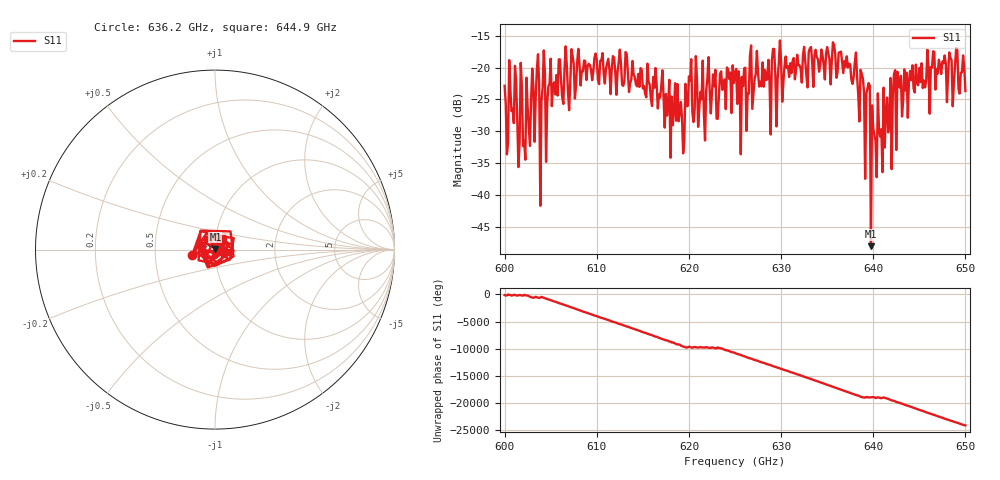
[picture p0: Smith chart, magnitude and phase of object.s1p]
!Created with skrf (http://scikit-rf.org).
# GHz S MA R 50.0
!freq magS11 angS11
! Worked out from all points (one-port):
!   401 points, 600 GHz to 650 GHz, reference 50 ohm
!   lowest |S11| = -48.0 dB at 639.8 GHz (marker M1), VSWR 1.01, Z = 50.3 + j0.303 ohm
!   |S11| at or under -10 dB: start of sweep to end of sweep
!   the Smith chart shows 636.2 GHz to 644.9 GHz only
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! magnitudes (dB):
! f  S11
! 600 GHz  -22.9
! 601 GHz  -28.7
! 602.2 GHz  -34.5
! 603.4 GHz  -24.7
! 603.9 GHz  -41.7
! 606.2 GHz  -24.6
! 612.5 GHz  -17.2
! 618.8 GHz  -22.6
! 619.2 GHz  -28.0
! 620 GHz  -21.4
! 621.5 GHz  -18.9
! 625 GHz  -20.9
! 625.5 GHz  -22.1
! 627.4 GHz  -17.4
! 628.6 GHz  -18.8
! 631.2 GHz  -19.0
! 637.5 GHz  -19.5
! 638.8 GHz  -20.9
! 639.8 GHz  -48.0
! 640 GHz  -29.5
! 641.6 GHz  -30.2
! 641.9 GHz  -21.6
! 642.1 GHz  -24.3
! 642.2 GHz  -21.1
! 642.4 GHz  -20.4
! 643.8 GHz  -27.9
! 647.6 GHz  -19.3
! 650 GHz  -23.7
